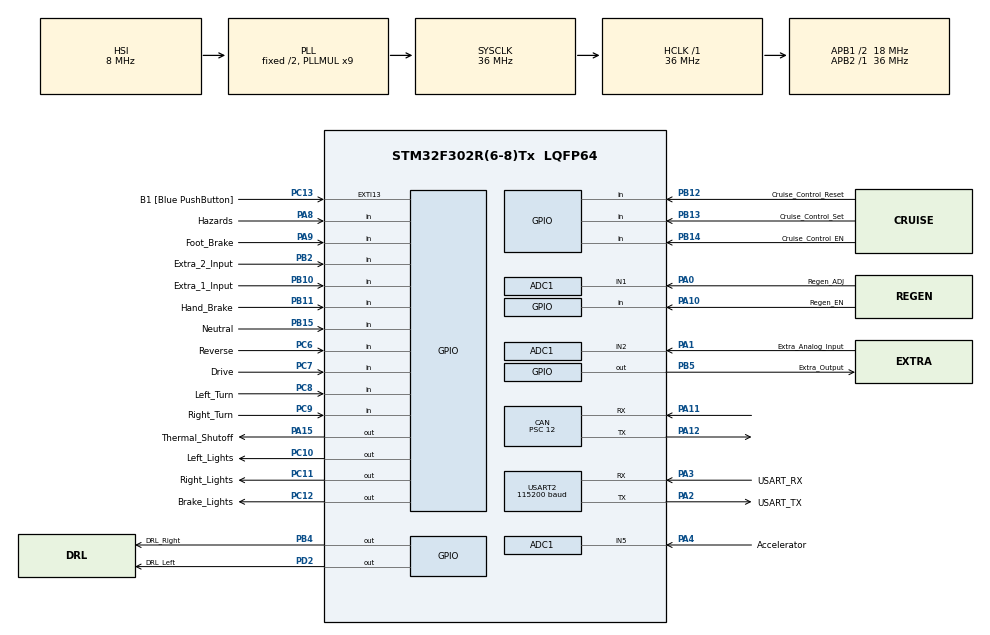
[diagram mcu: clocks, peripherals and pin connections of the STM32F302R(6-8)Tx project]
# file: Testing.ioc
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ADC1.Channel-0\#ChannelRegularConversion=ADC_CHANNEL_1
ADC1.NbrOfConversionFlag=1
ADC1.Offset-0\#ChannelRegularConversion=0
ADC1.OffsetNumber-0\#ChannelRegularConversion=ADC_OFFSET_NONE
ADC1.Rank-0\#ChannelRegularConversion=1
ADC1.SamplingTime-0\#ChannelRegularConversion=ADC_SAMPLETIME_1CYCLE_5
ADC1.SubFamily=STM32F302x8
ADC1.master=1
CAN.CalculateBaudRate=499999
CAN.CalculateTimeBit=2000
CAN.CalculateTimeQuantum=666.6666666666667
CAN.Prescaler=12
Dma.ADC1.0.Direction=DMA_PERIPH_TO_MEMORY
Dma.ADC1.0.Instance=DMA1_Channel1
Dma.ADC1.0.MemDataAlignment=DMA_MDATAALIGN_HALFWORD
Dma.ADC1.0.MemInc=DMA_MINC_ENABLE
Dma.ADC1.0.Mode=DMA_CIRCULAR
Dma.ADC1.0.PeriphDataAlignment=DMA_PDATAALIGN_HALFWORD
Dma.ADC1.0.PeriphInc=DMA_PINC_DISABLE
Dma.ADC1.0.Priority=DMA_PRIORITY_LOW
Dma.Request0=ADC1
Mcu.Family=STM32F3
Mcu.Name=STM32F302R(6-8)Tx
Mcu.Package=LQFP64
NVIC.DMA1_Channel1_IRQn=true\:0\:0\:false\:false\:true\:false\:true\:true
NVIC.EXTI15_10_IRQn=true\:0\:0\:false\:false\:true\:true\:true\:true
NVIC.PriorityGroup=NVIC_PRIORITYGROUP_0
PA0.GPIO_Label=Regen_ADJ
PA0.Mode=IN1-Single-Ended
PA0.Signal=ADC1_IN1
PA1.GPIO_Label=Extra_Analog_Input
PA1.Mode=IN2-Single-Ended
PA1.Signal=ADC1_IN2
PA10.GPIO_Label=Regen_EN
PA10.Signal=GPIO_Input
PA11.Mode=CAN_Activate
PA11.Signal=CAN_RX
PA12.Mode=CAN_Activate
PA12.Signal=CAN_TX
PA13.GPIO_Label=TMS
PA13.Mode=Serial_Wire
PA13.Signal=SYS_JTMS-SWDIO
PA14.GPIO_Label=TCK
PA14.Mode=Serial_Wire
PA14.Signal=SYS_JTCK-SWCLK
PA15.GPIO_Label=Thermal_Shutoff
PA15.Signal=GPIO_Output
PA2.GPIO_Label=USART_TX
PA2.GPIO_Mode=GPIO_MODE_AF_PP
PA2.GPIO_PuPd=GPIO_NOPULL
PA2.GPIO_Speed=GPIO_SPEED_FREQ_LOW
PA2.Mode=Asynchronous
PA2.Signal=USART2_TX
PA3.GPIO_Label=USART_RX
PA3.GPIO_Mode=GPIO_MODE_AF_PP
PA3.GPIO_PuPd=GPIO_NOPULL
PA3.GPIO_Speed=GPIO_SPEED_FREQ_LOW
PA3.Mode=Asynchronous
PA3.Signal=USART2_RX
PA4.GPIO_Label=Accelerator
PA4.Mode=IN5-Single-Ended
PA4.Signal=ADC1_IN5
PA8.GPIO_Label=Hazards
PA8.Signal=GPIO_Input
PA9.GPIO_Label=Foot_Brake
PA9.Signal=GPIO_Input
PB10.GPIO_Label=Extra_1_Input
PB10.Signal=GPIO_Input
PB11.GPIO_Label=Hand_Brake
PB11.Signal=GPIO_Input
PB12.GPIO_Label=Cruise_Control_Reset
PB12.Signal=GPIO_Input
PB13.GPIO_Label=Cruise_Control_Set
PB13.Signal=GPIO_Input
PB14.GPIO_Label=Cruise_Control_EN
PB14.Signal=GPIO_Input
PB15.GPIO_Label=Neutral
PB15.Signal=GPIO_Input
PB2.GPIO_Label=Extra_2_Input
PB2.Signal=GPIO_Input
PB3.GPIO_Label=SWO
PB3.Mode=Trace_Asynchronous_SW
PB3.Signal=SYS_JTDO-TRACESWO
PB4.GPIO_Label=DRL_Right
PB4.Signal=GPIO_Output
PB5.GPIO_Label=Extra_Output
PB5.Signal=GPIO_Output
PC10.GPIO_Label=Left_Lights
PC10.Signal=GPIO_Output
PC11.GPIO_Label=Right_Lights
PC11.Signal=GPIO_Output
PC12.GPIO_Label=Brake_Lights
PC12.Signal=GPIO_Output
PC13.GPIO_Label=B1 [Blue PushButton]
PC13.GPIO_ModeDefaultEXTI=GPIO_MODE_IT_FALLING
PC13.Signal=GPXTI13
PC14\ -\ OSC32_IN.Signal=RCC_OSC32_IN
PC15\ -\ OSC32_OUT.Signal=RCC_OSC32_OUT
PC6.GPIO_Label=Reverse
PC6.Signal=GPIO_Input
PC7.GPIO_Label=Drive
PC7.Signal=GPIO_Input
PC8.GPIO_Label=Left_Turn
PC8.Signal=GPIO_Input
PC9.GPIO_Label=Right_Turn
PC9.Signal=GPIO_Input
PD2.GPIO_Label=DRL_Left
PD2.Signal=GPIO_Output
PF0-OSC_IN.Signal=RCC_OSC_IN
PF1-OSC_OUT.Signal=RCC_OSC_OUT
ProjectManager.HeapSize=0x200
ProjectManager.StackSize=0x400
ProjectManager.TargetToolchain=STM32CubeIDE
RCC.AHBFreq_Value=36000000
RCC.APB1CLKDivider=RCC_HCLK_DIV2
RCC.APB1Freq_Value=18000000
RCC.APB1TimFreq_Value=36000000
RCC.APB2Freq_Value=36000000
RCC.APB2TimFreq_Value=36000000
RCC.CortexFreq_Value=36000000
RCC.HCLKFreq_Value=36000000
RCC.HSE_VALUE=8000000
RCC.HSI_VALUE=8000000
RCC.LSE_VALUE=32768
RCC.PLLM=8
RCC.PLLMUL=RCC_PLL_MUL9
RCC.PLLN=336
RCC.PLLP=RCC_PLLP_DIV4
RCC.PLLQ=7
RCC.SYSCLKFreq_VALUE=36000000
RCC.SYSCLKSourceVirtual=RCC_SYSCLKSOURCE_PLLCLK
RCC.USBFreq_Value=36000000
USART2.BaudRate=115200
USART2.VirtualMode-Asynchronous=VM_ASYNC
board=NUCLEO-F302R8

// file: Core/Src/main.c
/* USER CODE BEGIN Header */
/**
 ******************************************************************************
 * @file           : main.c
 * @brief          : Main program body
 ******************************************************************************
 * @attention
 *
 * Copyright (c) 2023 STMicroelectronics.
 * All rights reserved.
 *
 * This software is licensed under terms that can be found in the LICENSE file
 * in the root directory of this software component.
 * If no LICENSE file comes with this software, it is provided AS-IS.
 *
 ******************************************************************************
 */
/* USER CODE END Header */
#include "main.h"

/* USER CODE BEGIN Includes */
#include <stdio.h>
#include <string.h>
#include <math.h>
/* USER CODE END Includes */

/* USER CODE BEGIN PD */
#define CRUISE_CONTROL_MIN 15
#define NUM_ANALOG_INPUTS 2
/* USER CODE END PD */

ADC_HandleTypeDef hadc1;
DMA_HandleTypeDef hdma_adc1;

CAN_HandleTypeDef hcan;

UART_HandleTypeDef huart2;

void SystemClock_Config(void);
static void MX_GPIO_Init(void);
static void MX_DMA_Init(void);
static void MX_USART2_UART_Init(void);
static void MX_CAN_Init(void);
static void MX_ADC1_Init(void);

/* USER CODE BEGIN 0 */
//JD archive variables
//uint32_t wait;
//uint16_t num;
//uint32_t tickFreq = (uint32_t) HAL_GetTickFreq;
//uint32_t currTick;
//uint32_t prevTickOp = 0;
//uint32_t prevTickCAN = 0;
//uint32_t prevTickDrive = 0;
//uint32_t prevTickPower = 0;
//uint8_t CANWait = 150; //150ms
//uint8_t DrivePeriod = 50; //50ms
//uint8_t PowerPeriod = 80; //80ms
// *****************************************************************************
// ADC variables
int datacheck = 0;

// array to store ADC results
volatile uint16_t adcResults[2];
const int adcChannelCount = sizeof(adcResults) / sizeof(adcResults[0]);
volatile int adcConversionComplete = 0; // set by a callback function

// Analog inputs
uint16_t Acceleration = 0;
uint16_t Regen_ADJ = 0;
//****************************************
// UART buffer
uint8_t buf[64];
// ***************************************
// CAN variables
CAN_TxHeaderTypeDef TxHeaderData;
CAN_TxHeaderTypeDef TxHeaderRequest;
CAN_RxHeaderTypeDef RxHeader;

uint8_t TxRequest[8];
uint8_t RxData[8];

// Mailboxes. Perhaps just use one mailbox variable
uint32_t TxMailbox;
//uint32_t Charger_MB;
//uint32_t BMS_MB;
//uint32_t MotorController_MB1;
//uint32_t MotorController_MB2;

// Tx and Rx Variables
union Data {
	int i;
	float f;
	uint8_t byte[8];
};

union Data upperByte; 	//aid in converting upper bytes to float

union Data TxData;
//union Data Current; 	//motor current percent of max current
//union Data Velocity; 	//motor velocity desired output
union Data Power; 		//bus current max percent of absolute current
union Data RPM; 		//motor current rpm
union Data CC_Velocity;
union Data DesiredVelocity;
union Data DesiredCurrent;
union Data BusCurrent;

union Data VehicleVelocityMC1;
union Data VehicleVelocityMC2;
union Data AvgVelocity;
union Data RPM;
union Data HeatSinkTempMC1;
union Data HeatSinkTempMC2;
union Data AvgHeatSink;
union Data BMS_PackTemp;
union Data BMS_PackVoltage;
union Data BMS_CurrentDraw;
union Data SerialNumber;
union Data ProhelionID;

// Array sizes
int MCmsgSize = 4;
int PackTempSize = 1;
int PackVoltageSize = 2;
int CurrentDrawSize = 2;

// Rx Addresses
int IdentificationID = 0;
int VelocityIdMC1 = 0;
int HeatSinkIdMC1 = 0;
int VelocityIdMC2 = 0;
int HeatSinkIdMC2 = 0;
int BMSTempId = 0;
int BMSVoltageId = 0;
int BMSCurrentId = 0;

// This function handles CAN messages. It is triggered by the interrupt later in
//		the code. It reads CAN messages and executes code based on the
//		header ID in the message
void HAL_CAN_RxFifo1MsgPendingCallback(CAN_HandleTypeDef *hcan) {
	// HAL_CAN_GetRxMessage() is the function that retrieves the CAN message
	HAL_CAN_GetRxMessage(hcan, CAN_RX_FIFO1, &RxHeader, RxData);
	/*Need to change datacheck to bits and then assign bits per instruction
	 * bit mask back in the code for what the flag says it needs to do
	 * Reason: msgs can come in quicker than code execution
	 * Don't want overwrite of actions for only 1 action
	 */
	//Will also need to add in switch case for the RxHeader.StdId
	switch (RxHeader.StdId) {
	case IdentificationID:
		// copy first half of array
		//type: integer
		memcpy(ProhelionID.byte, RxData, MCmsgSize);

		// copies the second half of the array
		memcpy(SerialNumber.byte, RxData + 5, MCmsgSize);

		//case 0x403:
		//datacheck = 1;
		//break;

		// Motor Controllers
		// Vehicle velocity
	case VelocityIdMC1:
		//type: float
		memcpy(RPM.byte, RxData, MCmsgSize);
		memcpy(VehicleVelocityMC1.byte, RxData + 5, MCmsgSize); // m/s, convert to mph
		break;

	case VelocityIdMC2:
		//type: float
		memcpy(RPM.byte, RxData, MCmsgSize);
		memcpy(VehicleVelocityMC2.byte, RxData + 5, MCmsgSize); // m/s, convert to mph
		break;

		// Heat sink temperature
	case HeatSinkIdMC1:
		//type: float
		memcpy(MotorTemp.byte, RxData, MCmsgSize);
		memcpy(HeatSinkTempMC1.byte, RxData + 5, MCmsgSize);
		break;

	case HeatSinkIdMC2:
		//type: float
		memcpy(MotorTemp.byte, RxData, MCmsgSize);
		memcpy(HeatSinkTempMC2.byte, RxData + 5, MCmsgSize);
		break;

		// BMS
		// BMS Pack Temperature
	case BMSTempId:
		//type: INTEGER
		memcpy(BMS_PackTemp.byte, RxData, PackTempSize);
		break;

		// BMS Pack Voltage
	case BMSVoltageId:
		//type: Float
		memcpy(BMS_PackVoltage.byte, RxData, PackVoltageSize);
		break;

		//Current Draw
	case BMSCurrentId:
		//type: float
		memcpy(BMS_CurrentDraw.byte, RxData, CurrentDrawSize);
		break;
	}
}

/* JD test code
 // for received messages?
 float ByteToFloat(uint8_t byte0, uint8_t byte1, uint8_t byte2, uint8_t byte3) {
 uint8_t Abyte[4] = { byte0, byte1, byte2, byte3 };
 for (int i = 0; i <= 3; i++) {
 upperByte.byte[i] = Abyte[i];
 }
 return upperByte.f;
 }
 */

// **************************************
// driver control variables
struct DigitalInput {
	uint16_t Drive;
	uint16_t Neutral;
	uint16_t Reverse;
	uint16_t CC_reset;
	uint16_t CC_set;
	uint16_t CC_enable;
	uint16_t foot_brake;
	uint16_t regen_en;
	uint16_t brake_light; // this does not require a state variable
	uint16_t r_signal;
	uint16_t l_signal;
	uint16_t hazards;
	uint16_t hand_brake;
};

// digital input variables
struct DigitalInput input;

// state variables
struct DigitalInput state;

//Thermal Shutoff variable
float deratedCurrent;

// *************************************************
// timer variables

uint32_t currtick;

// input timers
uint32_t prevTickHighPriority;
uint32_t prevTickMediumPriority;
uint32_t prevTickLowPriority;

uint8_t HighPriorityWait = 100;
uint8_t MediumPriorityWait = 250; //hm
uint8_t LowPriorityWait = 750;

// task execution timers
uint32_t prevThermalShutoff;
uint32_t prevTickSignal; // accounts for left, right signals, and hazards
uint32_t prevTickMotive;
uint32_t prevRPiMsg;
//uint32_t prevTickCAN;
//uint32_t prevTickPower;

uint8_t ThermalShutoffWait = 100;
uint8_t SignalWait = 1000; // accounts for left, right signals, and hazards
uint8_t MotiveWait = 150;
uint8_t RPiMsgWait = 1000;
//uint8_t CANWait;
//uint8_t PowerWait;

// ********************************************************
// timer functions
void cruise_control(void) {
	return;
}

void motor_control(void) {
	if (state.Drive) {
		if (state.regen_en) {
			DesiredVelocity.i = 0;
			DesiredCurrent.f = (Regen_ADJ + 1) / 4096; // adjust
		} else {
			CC_Velocity.f = 0;
			DesiredVelocity.f = 1000;
			DesiredCurrent.f = DesiredCurrent.f = 0.00000006
					* (pow((float) Acceleration, 2));
		}

		if (state.CC_enable) {
			cruise_control();
		}

	} else if (state.Reverse) {
		DesiredVelocity.f = -1000;
		DesiredCurrent.f = DesiredCurrent.f = 0.00000006
				* (pow((float) Acceleration, 2));
	} else if (state.Neutral) {
		DesiredVelocity.f = 0;
		DesiredCurrent.f = 0;
	}

	if (deratedCurrent) {
		BusCurrent.f = deratedCurrent;
	} else {
		BusCurrent.f = 1;
	}

	//Assemble frame
	//  might as well assign a new frame cos thats too much effort to copy over
	uint8_t MotiveTx[] = { DesiredVelocity.byte[0], DesiredVelocity.byte[1],
			DesiredVelocity.byte[2], DesiredVelocity.byte[3],
			DesiredCurrent.byte[0], DesiredCurrent.byte[1],
			DesiredCurrent.byte[2], DesiredCurrent.byte[3] };
	//Alter address to send to
	// drivers control address + 0x01
	// 18.2.1 in Prohelion manual
	TxHeaderData.StdId = 0x401;
	//Send frame
	HAL_CAN_AddTxMessage(&hcan, &TxHeaderData, MotiveTx, &TxMailbox);

	uint8_t PowerTx[] = { 0, 0, 0, 0, BusCurrent.byte[0], BusCurrent.byte[1],
			BusCurrent.byte[2], BusCurrent.byte[3] };
	// 18.4.12 in Prohelion manual
	TxHeaderData.StdId = 0x402;
	HAL_CAN_AddTxMessage(&hcan, &TxHeaderData, PowerTx, &TxMailbox);

}

//******************************************************************
// error handling and testing variables
HAL_StatusTypeDef status;
//char CurrentTask[50];
/*void checkStatus(HAL_StatusTypeDef status, const char *task) {
 if (status == !HAL_OK) {
 const char *HALcode;
 switch (status) {
 case HAL_ERROR:
 HALcode = "HAL_ERROR";
 break;
 case HAL_BUSY:
 HALcode = "HAL_BUSY";
 break;
 case HAL_TIMEOUT:
 HALcode = "HAL_TIMEOUT";
 break;
 default:
 HALcode = "Unknown HAL status";
 break;
 sprintf("%s: %s\r\n", HALcode, task);
 Error_Handler();
 }
 }else {
 sprintf(buf, "HAL_OK: %s.\r\n", task);
 }
 HAL_UART_Transmit(&huart2, buf, strlen(buf), HAL_MAX_DELAY);

 }*/

/* USER CODE END 0 */

int main(void) {

	/* MCU Configuration--------------------------------------------------------*/

	/* Reset of all peripherals, Initializes the Flash interface and the Systick. */
	HAL_Init();

	/* Configure the system clock */
	SystemClock_Config();

	/* Initialize all configured peripherals */
	MX_GPIO_Init();
	MX_DMA_Init();
	MX_USART2_UART_Init();
	MX_CAN_Init();
	MX_ADC1_Init();
	/* USER CODE BEGIN 2 */

	// CAN variables
	status = HAL_CAN_Start(&hcan);

	TxHeaderData.DLC = 8;
	TxHeaderData.IDE = CAN_ID_STD;
	TxHeaderData.RTR = CAN_RTR_DATA; //remot
	TxHeaderData.StdId = 0x500; //set the ID of the VCU

	TxHeaderRequest.DLC = 8;
	TxHeaderRequest.IDE = CAN_ID_STD;
	TxHeaderRequest.RTR = CAN_RTR_REMOTE;
	TxHeaderRequest.StdId = 0x500; //Set the ID of VCU

	// HAL_CAN_ActivateNotification() generates an interrupt based on the given
	// 	CAN address and condition. in this case, the condition
	//	CAN_IT_RX_FIFO1_MSG_PENDING triggers an interrupt when there is a
	//	message received by FIFO1 (in the queue). This interrupt triggers the
	//	HAL library to automatically call the function
	//	HAL_CAN_RxFifo1MsgPendingCallback()
	status = HAL_CAN_ActivateNotification(&hcan, CAN_IT_RX_FIFO1_MSG_PENDING);
	//checkStatus(status, "HAL_CAN_ActivateNotification()");

	/* USER CODE END 2 */

	/* Infinite loop */
	while (1) {

		/* USER CODE BEGIN 3 */
		//Set the current time
		currtick = HAL_GetTick();

		/* -- Debugging
		 //print out some information to the console via UART
		 //sprintf(buf, "%u: %lu: %lu \r\n", num, tickFreq, currTick);
		 //HAL_UART_Transmit(&huart2, buf, strlen(buf), HAL_MAX_DELAY);
		 */

		// Thermal shutoff
		if (currtick - prevThermalShutoff > ThermalShutoffWait) {
			if ((BMS_CurrentDraw.f >= 0 && BMS_PackTemp.i >= 57)
					|| (BMS_CurrentDraw.f <= -1 && BMS_PackTemp.i >= 42)) {
				//Turn the pin off
				HAL_GPIO_WritePin(Thermal_Shutoff_GPIO_Port,
				Thermal_Shutoff_Pin, GPIO_PIN_RESET);
				//if current neg and between 37 - 42 then derate regen
				//if current is neg and above 43 derate to 0
				//current pos full regen up until 52 - 57, start derating then

			}

			// derate the current if the battery pack temperature is too high
			if (BMS_CurrentDraw.f >= 0 && BMS_PackTemp.i > 52) {
				deratedCurrent = 57 - BMS_PackTemp.i * 0.2;
			} else if (BMS_CurrentDraw.f <= -1 && BMS_PackTemp.i > 37) {
				deratedCurrent = 42 - BMS_PackTemp.i * 0.2;
			} else {
				deratedCurrent = 0;
			}
			prevThermalShutoff = currtick;
		}

		////////////////////////////////////////////////////
		// INPUT READING AND STATE SETTING
		// High Priority tasks: foot_brake and gear settings
		if (currtick - prevTickHighPriority > HighPriorityWait) {
			input.foot_brake = HAL_GPIO_ReadPin(Foot_Brake_GPIO_Port,
			Foot_Brake_Pin);
			input.Reverse = HAL_GPIO_ReadPin(Reverse_GPIO_Port, Reverse_Pin);
			input.Neutral = HAL_GPIO_ReadPin(Neutral_GPIO_Port, Neutral_Pin);
			input.Drive = HAL_GPIO_ReadPin(Drive_GPIO_Port, Drive_Pin);

			// motive state-setting algorithm
			// Brake is on or state is Neutral
			if (input.foot_brake || input.Neutral) {
				state.Drive = 0;
				state.Neutral = 0;
				state.CC_enable = 0;
				state.Neutral = 1;
				// State is Drive
			} else if (input.Drive && AvgVelocity.i >= 0) {
				if (input.CC_enable && AvgVelocity.i > CRUISE_CONTROL_MIN) {
					state.CC_enable = 1;
				} else {
					//state.CC = 0;
					CC_Velocity.i = 0;
				}
				//57 or 52?
				if (input.regen_en && Acceleration == 0
						&& BMS_PackTemp.i < 57) {
					state.regen_en = 1;
				} else {
					state.regen_en = 0;
				}

				state.Reverse = 0;
				state.Neutral = 0;
				state.Drive = 1;

				// State is Reverse
			} else if (input.Reverse && AvgVelocity.f <= 0) {
				state.Drive = 0;
				state.Neutral = 0;
				state.CC_enable = 0;
				state.Reverse = 1;

				//idk i left this case in, sets to neutral
			} else {
				state.Drive = 0;
				state.Neutral = 0;
				state.CC_enable = 0;
				state.Neutral = 1;

			}

			prevTickHighPriority = currtick;
		}

		// Medium Priority tasks:
		//  - cruise control
		//  - Reading in ADC values
		if (currtick - prevTickMediumPriority > MediumPriorityWait) {
			input.CC_enable = HAL_GPIO_ReadPin(Cruise_Control_EN_GPIO_Port,
			Cruise_Control_EN_Pin);
			input.CC_reset = HAL_GPIO_ReadPin(Cruise_Control_Reset_GPIO_Port,
			Cruise_Control_Reset_Pin);
			input.CC_set = HAL_GPIO_ReadPin(Cruise_Control_Set_GPIO_Port,
			Cruise_Control_Set_Pin);
			input.regen_en = HAL_GPIO_ReadPin(Regen_EN_GPIO_Port, Regen_EN_Pin);

			//ADC readings with DMA help
			status = HAL_ADC_Start_DMA(&hadc1, (uint32_t*) adcResults,
					adcChannelCount);
			while (adcConversionComplete == 0) {
			} //waiting for conversion to complete
			adcConversionComplete = 0;
			// check function status
			//checkStatus(status, "HAL_ADC_Start_DMA()");

			/*
			 //Record the ADC value from channel 1 to num
			 HAL_ADC_Start(&hadc1);
			 HAL_ADC_PollForConversion(&hadc1, HAL_MAX_DELAY);
			 num = HAL_ADC_GetValue(&hadc1);
			 */
			//set wait
			//wait = 250;
			Acceleration = adcResults[0];
			Regen_ADJ = adcResults[1];

			prevTickMediumPriority = currtick;
		}

		// Low priority tasks:
		//  - hazard lights
		//  - signal lights
		if (currtick - prevTickLowPriority > LowPriorityWait) {
			input.hazards = state.hazards = HAL_GPIO_ReadPin(Hazards_GPIO_Port,
			Hazards_Pin);
			// if input is 1 for hazard, then right and left signal lights state is set to 0
			if (input.hazards) {

				// this is not strictly necessary as the conditional statement in the
				// timed function will have hazard input override the signal light
				// states anyway. this combined with the next chunk of code will make
				// sure that the signal lights will blink in sync in hazards mode, and
				// that the signal light is turned off when the signal light input ceases.
				if (input.r_signal || input.l_signal) {
					input.r_signal = 0;
					input.l_signal = 0;
				}
			} else {
				input.r_signal = HAL_GPIO_ReadPin(Right_Turn_GPIO_Port,
				Right_Turn_Pin);
				input.l_signal = HAL_GPIO_ReadPin(Left_Turn_GPIO_Port,
				Left_Turn_Pin);
			}

			// Signal light state-setting
			// make sure that the light is turned off when signal light input shuts off
			// if the state for r signal is on but the input for r signal is off, then
			// set the light to the off state
			if (input.r_signal == 0 && state.r_signal == 1) {
				HAL_GPIO_WritePin(Right_Turn_GPIO_Port, Right_Turn_Pin,
						GPIO_PIN_RESET);
				state.r_signal = input.r_signal = 0;
				// turn the DRL back on
				HAL_GPIO_WritePin(DRL_Right_GPIO_Port, DRL_Right_Pin,
						GPIO_PIN_SET);
			} else {
				// else the r signal light has the same state as the input
				state.r_signal = input.r_signal;
			}

			// same for left signal light
			if (input.l_signal == 0 && state.l_signal == 1) {
				HAL_GPIO_WritePin(Left_Turn_GPIO_Port, Left_Turn_Pin,
						GPIO_PIN_RESET);
				input.l_signal = state.l_signal = 0;
				HAL_GPIO_WritePin(DRL_Left_GPIO_Port, DRL_Left_Pin,
						GPIO_PIN_SET);
			} else {
				state.l_signal = input.l_signal;

			}
			prevTickLowPriority = currtick;
		}

		// update currtick
		currtick = HAL_GetTick();

		//////////////////////////////////////////////////////////////////
		// TASK EXECUTION

		// motor controller
		if (currtick - prevTickMotive > MotiveWait) {
			motor_control();

			if (input.foot_brake) {
				HAL_GPIO_WritePin(Brake_Lights_GPIO_Port, Brake_Lights_Pin,
						GPIO_PIN_SET);
			} else {
				HAL_GPIO_WritePin(Brake_Lights_GPIO_Port, Brake_Lights_Pin,
						GPIO_PIN_RESET);
			}

			prevTickMotive = currtick;
		}

		// Signal light/hazard light task execution
		if (currtick - prevTickSignal > SignalWait) {
			if (input.hazards) {
				HAL_GPIO_TogglePin(Right_Lights_GPIO_Port, Right_Lights_Pin);
				HAL_GPIO_TogglePin(Left_Lights_GPIO_Port, Left_Lights_Pin);
			} else if (state.l_signal) {
				// The signal light always starts in the off position and the
				// DRL starts in the on position, so toggle will cause
				// them to blink asynchronously
				HAL_GPIO_TogglePin(Left_Lights_GPIO_Port, Left_Lights_Pin);
				HAL_GPIO_TogglePin(DRL_Left_GPIO_Port, DRL_Left_Pin);
			} else if (state.r_signal) {
				HAL_GPIO_TogglePin(Right_Lights_GPIO_Port, Right_Lights_Pin);
				HAL_GPIO_TogglePin(DRL_Right_GPIO_Port, DRL_Right_Pin);
			} else {
				HAL_GPIO_WritePin(Right_Lights_GPIO_Port, Right_Lights_Pin,
						GPIO_PIN_RESET);
				HAL_GPIO_WritePin(Left_Lights_GPIO_Port, Left_Lights_Pin,
						GPIO_PIN_RESET);
				HAL_GPIO_WritePin(DRL_Right_GPIO_Port, DRL_Right_Pin,
						GPIO_PIN_SET);
				HAL_GPIO_WritePin(DRL_Left_GPIO_Port, DRL_Left_Pin,
						GPIO_PIN_SET);
			}
			prevTickSignal = currtick;
		}

		if (currtick - prevRPiMsg > RPiMsgWait) {
			//sprintf(buf, "HAL_OK: %s.\r\n", task);
			// cast BMS_PackTemp to a float

			// Take avg of velocity from both mc
			AvgVelocity.f = (VehicleVelocityMC1.f + VehicleVelocityMC2.f) / 2;

			AvgVelocity.f *= 2.237;				// convert from m/s to MPH
			memcpy(buf, AvgVelocity.byte, sizeof(float)); // Vehicle velocity
			memcpy(buf + 4, AvgHeatSink.byte, sizeof(float)); // Heat sink temp

			// Cast BMS_PackTemp to float before copying
			float BMS_PackTemp_f = (float) BMS_PackTemp.i;

			memcpy(buf + 8, &BMS_PackTemp_f, sizeof(float));    // BMS pack temp
			memcpy(buf + 12, BMS_PackVoltage.byte, sizeof(float)); // BMS pack voltage
			memcpy(buf + 16, BMS_CurrentDraw.byte, sizeof(float)); // Current draw      // Current draw

			// Copy states that are stored as integers
			buf[20] = input.hand_brake;                 // Parking brake state
			buf[21] = state.r_signal;                    // Right turning signal
			buf[22] = state.l_signal;                     // Left turning signal
			buf[23] = state.hazards;                                  // Hazards

			// Gear selection stored as an integer
			if (state.Reverse) {
				buf[24] = -1;
			} else if (state.Neutral) {
				buf[24] = 0;
			} else {
				buf[24] = 1;
			}

			// Transmit the buffer over UART
			HAL_UART_Transmit(&huart2, buf, sizeof(buf), HAL_MAX_DELAY);
			prevRPiMsg = currtick;
		}

		/*
		 ////////////////////////////////////////////////////////////////
		 // JD test code
		 //toggle a GPIO pin with the time delay from the potentiometer
		 if (currTick - prevTickOp > wait) {

		 HAL_GPIO_TogglePin(GPIOB, GPIO_PIN_13);

		 // -- Debugging
		 sprintf(buf, "Acel: %u  Brake: %u \r\n", adcResults[0],
		 adcResults[1]);
		 HAL_UART_Transmit(&huart2, buf, strlen(buf), HAL_MAX_DELAY);

		 prevTickOp = currTick;
		 }

		 //create a delay to send CAN messages THIS IS TEST
		 if (currTick - prevTickCAN > CANWait) {
		 //set the CAN message to send
		 //uint8_t Tx[] = {50, 0xAA};
		 TxData.f = wait;

		 //Must Assemble the bytes in the union to get an array,
		 uint8_t Tx[] = { TxData.byte[0], TxData.byte[1], TxData.byte[2],
		 TxData.byte[3], 0, 0, 0, 0 };

		 //Alter address to send to
		 TxHeaderData.StdId = 0x800;

		 //send a message through CAN as data
		 status = HAL_CAN_AddTxMessage(&hcan, &TxHeaderData, Tx, &TxMailbox);
		 prevTickCAN = currTick;
		 }

		 //send the motor drive command frame, 50ms delay
		 if (currTick - prevTickDrive > DrivePeriod) {

		 //If we are not braking
		 if (brake == 0) {
		 //And not accelerating
		 if (acel == 0) {
		 //Set to coast
		 Velocity.f = 0;
		 Current.f = 0;
		 }
		 //And accelerating
		 else {
		 //Set high velocity, and scale the current
		 Velocity.f = 1000;
		 //convert the int to float for the current percent
		 //Current.f = (float)acel/4096;
		 Current.f = 0.00000006 * (pow((float) acel, 2));
		 }
		 //If we are braking
		 } else {
		 //Set velocity to 0
		 Velocity.f = 0;
		 //And if we are not pressing accelerator
		 if (acel == 0) {
		 //Scale re-gen current with brake until rpm is below a set point
		 if (RPM.f > 120) {
		 //Current.f = (float)brake/4096;
		 Current.f = 0.00000002 * (pow((float) brake, 2));
		 }
		 //If we are pressing both pedals at same time
		 } else {
		 //in addition to velocity set to 0, current set to 0
		 Current.f = 0;
		 }
		 }

		 //Assemble frame
		 uint8_t DriveTx[] = { Velocity.byte[0], Velocity.byte[1],
		 Velocity.byte[2], Velocity.byte[3], Current.byte[0],
		 Current.byte[1], Current.byte[2], Current.byte[3] };

		 //Alter address to send to
		 TxHeaderData.StdId = 0x501;

		 //Send frame
		 HAL_CAN_AddTxMessage(&hcan, &TxHeaderData, DriveTx, &DriveMB);

		 //reset Time
		 prevTickDrive = currTick;
		 }

		 //send the motor drive command frame, 80ms delay
		 if (currTick - prevTickPower > PowerPeriod) {

		 //Set percent to 100
		 Power.f = 1.0;

		 //Assemble frame
		 uint8_t PowerTx[] = { 0, 0, 0, 0, Power.byte[0], Power.byte[1],
		 Power.byte[2], Power.byte[3] };

		 //Alter address to send to
		 TxHeaderData.StdId = 0x502;

		 //Send frame
		 HAL_CAN_AddTxMessage(&hcan, &TxHeaderData, PowerTx, &PowerMB);

		 //reset Time
		 prevTickPower = currTick;
		 }
		 */

		//if the data flag is set, do something then reset the flag
		if (datacheck) {
			// -- Debugging
			/*
			 sprintf(buf, "%d: %u%u%u%u%u%u%u%u \r\n", RxHeader.StdId, RxData[7],RxData[6], RxData[5], RxData[4],
			 RxData[3], RxData[2], RxData[1], RxData[0]);
			 HAL_UART_Transmit(&huart2, buf, strlen(buf), HAL_MAX_DELAY);
			 */
			/*sprintf(buf, "In receive \r\n");
			 HAL_UART_Transmit(&huart2, buf, strlen(buf), HAL_MAX_DELAY);
			 */
			for (char i = 0; i <= 8; i++) {
				RPM.byte[i] = RxData[i];
			}

			/*sprintf(buf, "%x: Velocity: %e m/s RPM: %e \r\n", RxHeader.StdId, ByteToFloat(RPM.byte[4], RPM.byte[5], RPM.byte[6], RPM.byte[7]),
			 ByteToFloat(RPM.byte[3], RPM.byte[2], RPM.byte[1], RPM.byte[0]));
			 HAL_UART_Transmit(&huart2, buf, strlen(buf), HAL_MAX_DELAY);
			 */
			datacheck = 0; //reset
		}
	}
	/* USER CODE END 3 */
}

void SystemClock_Config(void) {
	RCC_OscInitTypeDef RCC_OscInitStruct = { 0 };
	RCC_ClkInitTypeDef RCC_ClkInitStruct = { 0 };
	RCC_PeriphCLKInitTypeDef PeriphClkInit = { 0 };

	/** Initializes the RCC Oscillators according to the specified parameters
	 * in the RCC_OscInitTypeDef structure.
	 */
	RCC_OscInitStruct.OscillatorType = RCC_OSCILLATORTYPE_HSI;
	RCC_OscInitStruct.HSIState = RCC_HSI_ON;
	RCC_OscInitStruct.HSICalibrationValue = RCC_HSICALIBRATION_DEFAULT;
	RCC_OscInitStruct.PLL.PLLState = RCC_PLL_ON;
	RCC_OscInitStruct.PLL.PLLSource = RCC_PLLSOURCE_HSI;
	RCC_OscInitStruct.PLL.PLLMUL = RCC_PLL_MUL9;
	if (HAL_RCC_OscConfig(&RCC_OscInitStruct) != HAL_OK) {
		Error_Handler();
	}

	/** Initializes the CPU, AHB and APB buses clocks
	 */
	RCC_ClkInitStruct.ClockType = RCC_CLOCKTYPE_HCLK | RCC_CLOCKTYPE_SYSCLK
			| RCC_CLOCKTYPE_PCLK1 | RCC_CLOCKTYPE_PCLK2;
	RCC_ClkInitStruct.SYSCLKSource = RCC_SYSCLKSOURCE_PLLCLK;
	RCC_ClkInitStruct.AHBCLKDivider = RCC_SYSCLK_DIV1;
	RCC_ClkInitStruct.APB1CLKDivider = RCC_HCLK_DIV2;
	RCC_ClkInitStruct.APB2CLKDivider = RCC_HCLK_DIV1;

	if (HAL_RCC_ClockConfig(&RCC_ClkInitStruct, FLASH_LATENCY_1) != HAL_OK) {
		Error_Handler();
	}
	PeriphClkInit.PeriphClockSelection = RCC_PERIPHCLK_ADC1;
	PeriphClkInit.Adc1ClockSelection = RCC_ADC1PLLCLK_DIV1;

	if (HAL_RCCEx_PeriphCLKConfig(&PeriphClkInit) != HAL_OK) {
		Error_Handler();
	}
}

static void MX_ADC1_Init(void) {

	ADC_ChannelConfTypeDef sConfig = { 0 };

	/** Common config
	 */
	hadc1.Instance = ADC1;
	hadc1.Init.ClockPrescaler = ADC_CLOCK_ASYNC_DIV1;
	hadc1.Init.Resolution = ADC_RESOLUTION_12B;
	hadc1.Init.ScanConvMode = ADC_SCAN_DISABLE;
	hadc1.Init.ContinuousConvMode = DISABLE;
	hadc1.Init.DiscontinuousConvMode = DISABLE;
	hadc1.Init.ExternalTrigConvEdge = ADC_EXTERNALTRIGCONVEDGE_NONE;
	hadc1.Init.ExternalTrigConv = ADC_SOFTWARE_START;
	hadc1.Init.DataAlign = ADC_DATAALIGN_RIGHT;
	hadc1.Init.NbrOfConversion = 1;
	hadc1.Init.DMAContinuousRequests = DISABLE;
	hadc1.Init.EOCSelection = ADC_EOC_SINGLE_CONV;
	hadc1.Init.LowPowerAutoWait = DISABLE;
	hadc1.Init.Overrun = ADC_OVR_DATA_OVERWRITTEN;
	if (HAL_ADC_Init(&hadc1) != HAL_OK) {
		Error_Handler();
	}

	/** Configure Regular Channel
	 */
	sConfig.Channel = ADC_CHANNEL_1;
	sConfig.Rank = ADC_REGULAR_RANK_1;
	sConfig.SingleDiff = ADC_SINGLE_ENDED;
	sConfig.SamplingTime = ADC_SAMPLETIME_1CYCLE_5;
	sConfig.OffsetNumber = ADC_OFFSET_NONE;
	sConfig.Offset = 0;
	if (HAL_ADC_ConfigChannel(&hadc1, &sConfig) != HAL_OK) {
		Error_Handler();
	}

}

static void MX_CAN_Init(void) {

	hcan.Instance = CAN;
	hcan.Init.Prescaler = 12;
	hcan.Init.Mode = CAN_MODE_NORMAL;
	hcan.Init.SyncJumpWidth = CAN_SJW_1TQ;
	hcan.Init.TimeSeg1 = CAN_BS1_1TQ;
	hcan.Init.TimeSeg2 = CAN_BS2_1TQ;
	hcan.Init.TimeTriggeredMode = DISABLE;
	hcan.Init.AutoBusOff = DISABLE;
	hcan.Init.AutoWakeUp = DISABLE;
	hcan.Init.AutoRetransmission = DISABLE;
	hcan.Init.ReceiveFifoLocked = DISABLE;
	hcan.Init.TransmitFifoPriority = DISABLE;
	if (HAL_CAN_Init(&hcan) != HAL_OK) {
		Error_Handler();
	}
	/* USER CODE BEGIN CAN_Init 2 */

//Set a up a filter
//Allow all messages to pass through from any ID
	CAN_FilterTypeDef cf1;
	cf1.FilterActivation = CAN_FILTER_ENABLE;
	cf1.FilterBank = 0;
	cf1.FilterFIFOAssignment = CAN_FILTER_FIFO1;
	cf1.FilterMode = CAN_FILTERMODE_IDMASK;
	cf1.FilterScale = CAN_FILTERSCALE_32BIT;
	cf1.FilterIdLow = 0x0;
	cf1.FilterIdHigh = 0x0 << 5;
	cf1.FilterMaskIdLow = 0x0;
	cf1.FilterMaskIdHigh = 0x0 << 5;

// this function applies the filter to the CAN peripheral
	HAL_CAN_ConfigFilter(&hcan, &cf1);

	/* USER CODE END CAN_Init 2 */

}

static void MX_USART2_UART_Init(void) {

	huart2.Instance = USART2;
	huart2.Init.BaudRate = 115200;
	huart2.Init.WordLength = UART_WORDLENGTH_8B;
	huart2.Init.StopBits = UART_STOPBITS_1;
	huart2.Init.Parity = UART_PARITY_NONE;
	huart2.Init.Mode = UART_MODE_TX_RX;
	huart2.Init.HwFlowCtl = UART_HWCONTROL_NONE;
	huart2.Init.OverSampling = UART_OVERSAMPLING_16;
	huart2.Init.OneBitSampling = UART_ONE_BIT_SAMPLE_DISABLE;
	huart2.AdvancedInit.AdvFeatureInit = UART_ADVFEATURE_NO_INIT;
	if (HAL_UART_Init(&huart2) != HAL_OK) {
		Error_Handler();
	}

}

static void MX_DMA_Init(void) {

	/* DMA controller clock enable */
	__HAL_RCC_DMA1_CLK_ENABLE();

	/* DMA interrupt init */
	/* DMA1_Channel1_IRQn interrupt configuration */
	HAL_NVIC_SetPriority(DMA1_Channel1_IRQn, 0, 0);
	HAL_NVIC_EnableIRQ(DMA1_Channel1_IRQn);

}

static void MX_GPIO_Init(void) {
	GPIO_InitTypeDef GPIO_InitStruct = { 0 };

	/* GPIO Ports Clock Enable */
	__HAL_RCC_GPIOC_CLK_ENABLE();
	__HAL_RCC_GPIOF_CLK_ENABLE();
	__HAL_RCC_GPIOA_CLK_ENABLE();
	__HAL_RCC_GPIOB_CLK_ENABLE();
	__HAL_RCC_GPIOD_CLK_ENABLE();

	/*Configure GPIO pin Output Level */
	HAL_GPIO_WritePin(Thermal_Shutoff_GPIO_Port, Thermal_Shutoff_Pin,
			GPIO_PIN_RESET);

	/*Configure GPIO pin Output Level */
	HAL_GPIO_WritePin(GPIOC,
	Left_Lights_Pin | Right_Lights_Pin | Brake_Lights_Pin, GPIO_PIN_RESET);

	/*Configure GPIO pin Output Level */
	HAL_GPIO_WritePin(DRL_Left_GPIO_Port, DRL_Left_Pin, GPIO_PIN_RESET);

	/*Configure GPIO pin Output Level */
	HAL_GPIO_WritePin(GPIOB, DRL_Right_Pin | Extra_Output_Pin, GPIO_PIN_RESET);

	/*Configure GPIO pin : B1_Pin */
	GPIO_InitStruct.Pin = B1_Pin;
	GPIO_InitStruct.Mode = GPIO_MODE_IT_FALLING;
	GPIO_InitStruct.Pull = GPIO_NOPULL;
	HAL_GPIO_Init(B1_GPIO_Port, &GPIO_InitStruct);

	/*Configure GPIO pins : Extra_2_Input_Pin Extra_1_Input_Pin Hand_Brake_Pin Cruise_Control_Reset_Pin
	 Cruise_Control_Set_Pin Cruise_Control_EN_Pin Neutral_Pin */
	GPIO_InitStruct.Pin = Extra_2_Input_Pin | Extra_1_Input_Pin | Hand_Brake_Pin
			| Cruise_Control_Reset_Pin | Cruise_Control_Set_Pin
			| Cruise_Control_EN_Pin | Neutral_Pin;
	GPIO_InitStruct.Mode = GPIO_MODE_INPUT;
	GPIO_InitStruct.Pull = GPIO_NOPULL;
	HAL_GPIO_Init(GPIOB, &GPIO_InitStruct);

	/*Configure GPIO pins : Reverse_Pin Drive_Pin Left_Turn_Pin Right_Turn_Pin */
	GPIO_InitStruct.Pin = Reverse_Pin | Drive_Pin | Left_Turn_Pin
			| Right_Turn_Pin;
	GPIO_InitStruct.Mode = GPIO_MODE_INPUT;
	GPIO_InitStruct.Pull = GPIO_NOPULL;
	HAL_GPIO_Init(GPIOC, &GPIO_InitStruct);

	/*Configure GPIO pins : Hazards_Pin Foot_Brake_Pin Regen_EN_Pin */
	GPIO_InitStruct.Pin = Hazards_Pin | Foot_Brake_Pin | Regen_EN_Pin;
	GPIO_InitStruct.Mode = GPIO_MODE_INPUT;
	GPIO_InitStruct.Pull = GPIO_NOPULL;
	HAL_GPIO_Init(GPIOA, &GPIO_InitStruct);

	/*Configure GPIO pin : Thermal_Shutoff_Pin */
	GPIO_InitStruct.Pin = Thermal_Shutoff_Pin;
	GPIO_InitStruct.Mode = GPIO_MODE_OUTPUT_PP;
	GPIO_InitStruct.Pull = GPIO_NOPULL;
	GPIO_InitStruct.Speed = GPIO_SPEED_FREQ_LOW;
	HAL_GPIO_Init(Thermal_Shutoff_GPIO_Port, &GPIO_InitStruct);

	/*Configure GPIO pins : Left_Lights_Pin Right_Lights_Pin Brake_Lights_Pin */
	GPIO_InitStruct.Pin = Left_Lights_Pin | Right_Lights_Pin | Brake_Lights_Pin;
	GPIO_InitStruct.Mode = GPIO_MODE_OUTPUT_PP;
	GPIO_InitStruct.Pull = GPIO_NOPULL;
	GPIO_InitStruct.Speed = GPIO_SPEED_FREQ_LOW;
	HAL_GPIO_Init(GPIOC, &GPIO_InitStruct);

	/*Configure GPIO pin : DRL_Left_Pin */
	GPIO_InitStruct.Pin = DRL_Left_Pin;
	GPIO_InitStruct.Mode = GPIO_MODE_OUTPUT_PP;
	GPIO_InitStruct.Pull = GPIO_NOPULL;
	GPIO_InitStruct.Speed = GPIO_SPEED_FREQ_LOW;
	HAL_GPIO_Init(DRL_Left_GPIO_Port, &GPIO_InitStruct);

	/*Configure GPIO pins : DRL_Right_Pin Extra_Output_Pin */
	GPIO_InitStruct.Pin = DRL_Right_Pin | Extra_Output_Pin;
	GPIO_InitStruct.Mode = GPIO_MODE_OUTPUT_PP;
	GPIO_InitStruct.Pull = GPIO_NOPULL;
	GPIO_InitStruct.Speed = GPIO_SPEED_FREQ_LOW;
	HAL_GPIO_Init(GPIOB, &GPIO_InitStruct);

	/* EXTI interrupt init*/
	HAL_NVIC_SetPriority(EXTI15_10_IRQn, 0, 0);
	HAL_NVIC_EnableIRQ(EXTI15_10_IRQn);

}

/* USER CODE BEGIN 4 */
void HAL_ADC_ConvCpltCallback(ADC_HandleTypeDef *hadc) {
	adcConversionComplete = 1;
}
/* USER CODE END 4 */

void Error_Handler(void) {
	__disable_irq();
	while (1) {
	}
}
